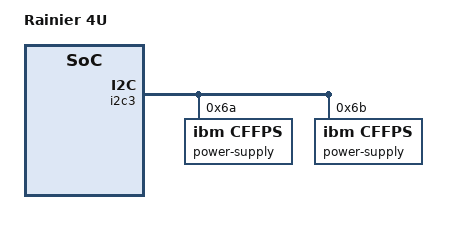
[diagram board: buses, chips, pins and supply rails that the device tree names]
// SPDX-License-Identifier: GPL-2.0-or-later
// Copyright 2020 IBM Corp.
/dts-v1/;

#include "aspeed-bmc-ibm-rainier.dts"

/ {
	model = "Rainier 4U";
};

&i2c3 {
	power-supply@6a {
		compatible = "ibm,cffps";
		reg = <0x6a>;
	};

	power-supply@6b {
		compatible = "ibm,cffps";
		reg = <0x6b>;
	};
};

&fan0 {
	/delete-property/ maxim,fan-dual-tach;
};

&fan1 {
	/delete-property/ maxim,fan-dual-tach;
};

&fan2 {
	/delete-property/ maxim,fan-dual-tach;
};

&fan3 {
	/delete-property/ maxim,fan-dual-tach;
};

&fan4 {
	/delete-property/ maxim,fan-dual-tach;
};

&fan5 {
	/delete-property/ maxim,fan-dual-tach;
};
